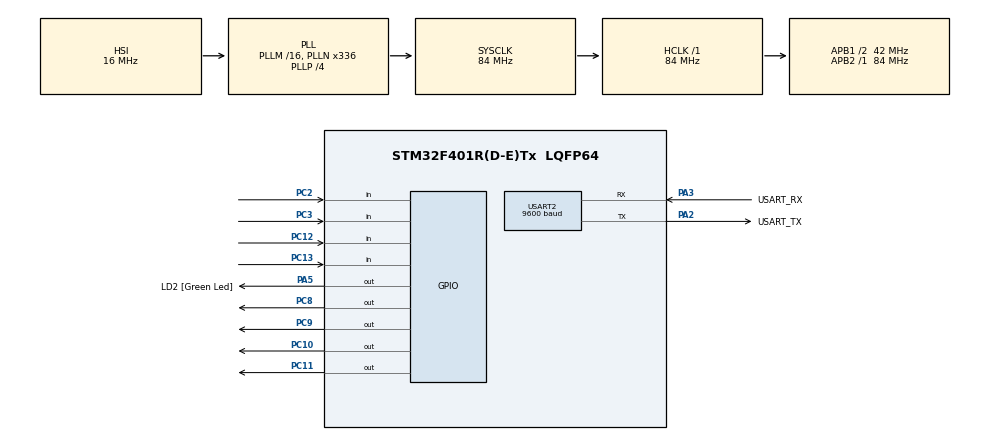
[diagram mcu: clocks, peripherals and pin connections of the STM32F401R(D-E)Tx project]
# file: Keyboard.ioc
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Dma.Request0=USART2_TX
Dma.USART2_TX.0.Direction=DMA_MEMORY_TO_PERIPH
Dma.USART2_TX.0.FIFOMode=DMA_FIFOMODE_DISABLE
Dma.USART2_TX.0.Instance=DMA1_Stream6
Dma.USART2_TX.0.MemDataAlignment=DMA_MDATAALIGN_BYTE
Dma.USART2_TX.0.MemInc=DMA_MINC_ENABLE
Dma.USART2_TX.0.Mode=DMA_NORMAL
Dma.USART2_TX.0.PeriphDataAlignment=DMA_PDATAALIGN_BYTE
Dma.USART2_TX.0.PeriphInc=DMA_PINC_DISABLE
Dma.USART2_TX.0.Priority=DMA_PRIORITY_LOW
Mcu.Family=STM32F4
Mcu.Name=STM32F401R(D-E)Tx
Mcu.Package=LQFP64
NVIC.DMA1_Stream6_IRQn=true\:0\:0\:false\:false\:true\:false\:true\:true
NVIC.PriorityGroup=NVIC_PRIORITYGROUP_4
NVIC.TIM2_IRQn=true\:0\:0\:false\:false\:true\:true\:true\:true
NVIC.USART2_IRQn=true\:0\:0\:false\:false\:true\:true\:true\:true
PA13.GPIO_Label=TMS
PA13.Mode=Trace_Asynchronous_SW
PA13.Signal=SYS_JTMS-SWDIO
PA14.GPIO_Label=TCK
PA14.Mode=Trace_Asynchronous_SW
PA14.Signal=SYS_JTCK-SWCLK
PA2.GPIO_Label=USART_TX
PA2.GPIO_Mode=GPIO_MODE_AF_PP
PA2.GPIO_PuPd=GPIO_NOPULL
PA2.GPIO_Speed=GPIO_SPEED_FREQ_LOW
PA2.Mode=Asynchronous
PA2.Signal=USART2_TX
PA3.GPIO_Label=USART_RX
PA3.GPIO_Mode=GPIO_MODE_AF_PP
PA3.GPIO_PuPd=GPIO_NOPULL
PA3.GPIO_Speed=GPIO_SPEED_FREQ_LOW
PA3.Mode=Asynchronous
PA3.Signal=USART2_RX
PA5.GPIO_Label=LD2 [Green Led]
PA5.GPIO_Mode=GPIO_MODE_OUTPUT_PP
PA5.GPIO_PuPd=GPIO_NOPULL
PA5.GPIO_Speed=GPIO_SPEED_FREQ_LOW
PA5.Signal=GPIO_Output
PB3.GPIO_Label=SWO
PB3.Mode=Trace_Asynchronous_SW
PB3.Signal=SYS_JTDO-SWO
PC10.GPIO_ModeDefaultOutputPP=GPIO_MODE_OUTPUT_PP
PC10.GPIO_PuPd=GPIO_NOPULL
PC10.Signal=GPIO_Output
PC11.GPIO_ModeDefaultOutputPP=GPIO_MODE_OUTPUT_PP
PC11.GPIO_PuPd=GPIO_NOPULL
PC11.Signal=GPIO_Output
PC12.Signal=GPIO_Input
PC13-ANTI_TAMP.Signal=GPIO_Input
PC14-OSC32_IN.Mode=LSE-External-Oscillator
PC14-OSC32_IN.Signal=RCC_OSC32_IN
PC15-OSC32_OUT.Mode=LSE-External-Oscillator
PC15-OSC32_OUT.Signal=RCC_OSC32_OUT
PC2.Signal=GPIO_Input
PC3.Signal=GPIO_Input
PC8.GPIO_ModeDefaultOutputPP=GPIO_MODE_OUTPUT_PP
PC8.GPIO_PuPd=GPIO_NOPULL
PC8.Signal=GPIO_Output
PC9.GPIO_ModeDefaultOutputPP=GPIO_MODE_OUTPUT_PP
PC9.GPIO_PuPd=GPIO_NOPULL
PC9.Signal=GPIO_Output
PH0\ -\ OSC_IN.Mode=HSE-External-Clock-Source
PH0\ -\ OSC_IN.Signal=RCC_OSC_IN
PH1\ -\ OSC_OUT.Mode=HSE-External-Clock-Source
PH1\ -\ OSC_OUT.Signal=RCC_OSC_OUT
ProjectManager.HeapSize=0x200
ProjectManager.StackSize=0x400
ProjectManager.TargetToolchain=STM32CubeIDE
RCC.48MHZClocksFreq_Value=48000000
RCC.AHBFreq_Value=84000000
RCC.APB1CLKDivider=RCC_HCLK_DIV2
RCC.APB1Freq_Value=42000000
RCC.APB1TimFreq_Value=84000000
RCC.APB2Freq_Value=84000000
RCC.APB2TimFreq_Value=84000000
RCC.CortexFreq_Value=84000000
RCC.HCLKFreq_Value=84000000
RCC.HSE_VALUE=8000000
RCC.HSI_VALUE=16000000
RCC.PLLN=336
RCC.PLLP=RCC_PLLP_DIV4
RCC.PLLQ=7
RCC.SYSCLKFreq_VALUE=84000000
RCC.SYSCLKSource=RCC_SYSCLKSOURCE_PLLCLK
RCC.VCOOutputFreq_Value=336000000
TIM2.Period=99
TIM2.Prescaler=8399
USART2.BaudRate=9600
USART2.VirtualMode=VM_ASYNC
VP_TIM2_VS_ClockSourceINT.Mode=Internal
board=NUCLEO-F401RE

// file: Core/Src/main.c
/* USER CODE BEGIN Header */
/**
  ******************************************************************************
  * @file           : main.c
  * @brief          : Main program body
  ******************************************************************************
  * @attention
  *
  * Copyright (c) 2025 STMicroelectronics.
  * All rights reserved.
  *
  * This software is licensed under terms that can be found in the LICENSE file
  * in the root directory of this software component.
  * If no LICENSE file comes with this software, it is provided AS-IS.
  *
  ******************************************************************************
  */
/* USER CODE END Header */
#include "main.h"

/* USER CODE BEGIN PTD */
typedef struct {
    GPIO_PinState current;
    GPIO_PinState previous;
} State;
/* USER CODE END PTD */

TIM_HandleTypeDef htim2;

UART_HandleTypeDef huart2;
DMA_HandleTypeDef hdma_usart2_tx;

/* USER CODE BEGIN PV */
uint8_t col = 0;

int flag_columnactivated=0;
int transmission_completed=1;

char keyboard[4][4] = {{'D', 'C', 'B', 'A'},
		{'#', '9', '6', '3'},
		{'0', '8', '5', '2'},
		{'*', '7', '4', '1'}
};

char charact[64];

State keyState[4][4] = {GPIO_PIN_SET};

/* USER CODE END PV */

void SystemClock_Config(void);
static void MX_GPIO_Init(void);
static void MX_DMA_Init(void);
static void MX_USART2_UART_Init(void);
static void MX_TIM2_Init(void);

int main(void)
{

  /* MCU Configuration--------------------------------------------------------*/

  /* Reset of all peripherals, Initializes the Flash interface and the Systick. */
  HAL_Init();

  /* Configure the system clock */
  SystemClock_Config();

  /* Initialize all configured peripherals */
  MX_GPIO_Init();
  MX_DMA_Init();
  MX_USART2_UART_Init();
  MX_TIM2_Init();
  /* USER CODE BEGIN 2 */
  activateColumn(0);
  HAL_TIM_Base_Start_IT(&htim2);
  /* USER CODE END 2 */

  /* Infinite loop */
  while (1)
  {

  }
}

void SystemClock_Config(void)
{
  RCC_OscInitTypeDef RCC_OscInitStruct = {0};
  RCC_ClkInitTypeDef RCC_ClkInitStruct = {0};

  /** Configure the main internal regulator output voltage
  */
  __HAL_RCC_PWR_CLK_ENABLE();
  __HAL_PWR_VOLTAGESCALING_CONFIG(PWR_REGULATOR_VOLTAGE_SCALE2);

  /** Initializes the RCC Oscillators according to the specified parameters
  * in the RCC_OscInitTypeDef structure.
  */
  RCC_OscInitStruct.OscillatorType = RCC_OSCILLATORTYPE_HSI;
  RCC_OscInitStruct.HSIState = RCC_HSI_ON;
  RCC_OscInitStruct.HSICalibrationValue = RCC_HSICALIBRATION_DEFAULT;
  RCC_OscInitStruct.PLL.PLLState = RCC_PLL_ON;
  RCC_OscInitStruct.PLL.PLLSource = RCC_PLLSOURCE_HSI;
  RCC_OscInitStruct.PLL.PLLM = 16;
  RCC_OscInitStruct.PLL.PLLN = 336;
  RCC_OscInitStruct.PLL.PLLP = RCC_PLLP_DIV4;
  RCC_OscInitStruct.PLL.PLLQ = 7;
  if (HAL_RCC_OscConfig(&RCC_OscInitStruct) != HAL_OK)
  {
    Error_Handler();
  }

  /** Initializes the CPU, AHB and APB buses clocks
  */
  RCC_ClkInitStruct.ClockType = RCC_CLOCKTYPE_HCLK|RCC_CLOCKTYPE_SYSCLK
                              |RCC_CLOCKTYPE_PCLK1|RCC_CLOCKTYPE_PCLK2;
  RCC_ClkInitStruct.SYSCLKSource = RCC_SYSCLKSOURCE_PLLCLK;
  RCC_ClkInitStruct.AHBCLKDivider = RCC_SYSCLK_DIV1;
  RCC_ClkInitStruct.APB1CLKDivider = RCC_HCLK_DIV2;
  RCC_ClkInitStruct.APB2CLKDivider = RCC_HCLK_DIV1;

  if (HAL_RCC_ClockConfig(&RCC_ClkInitStruct, FLASH_LATENCY_2) != HAL_OK)
  {
    Error_Handler();
  }
}

static void MX_TIM2_Init(void)
{

  TIM_ClockConfigTypeDef sClockSourceConfig = {0};
  TIM_MasterConfigTypeDef sMasterConfig = {0};

  htim2.Instance = TIM2;
  htim2.Init.Prescaler = 8399;
  htim2.Init.CounterMode = TIM_COUNTERMODE_UP;
  htim2.Init.Period = 99;
  htim2.Init.ClockDivision = TIM_CLOCKDIVISION_DIV1;
  htim2.Init.AutoReloadPreload = TIM_AUTORELOAD_PRELOAD_DISABLE;
  if (HAL_TIM_Base_Init(&htim2) != HAL_OK)
  {
    Error_Handler();
  }
  sClockSourceConfig.ClockSource = TIM_CLOCKSOURCE_INTERNAL;
  if (HAL_TIM_ConfigClockSource(&htim2, &sClockSourceConfig) != HAL_OK)
  {
    Error_Handler();
  }
  sMasterConfig.MasterOutputTrigger = TIM_TRGO_RESET;
  sMasterConfig.MasterSlaveMode = TIM_MASTERSLAVEMODE_DISABLE;
  if (HAL_TIMEx_MasterConfigSynchronization(&htim2, &sMasterConfig) != HAL_OK)
  {
    Error_Handler();
  }

}

static void MX_USART2_UART_Init(void)
{

  huart2.Instance = USART2;
  huart2.Init.BaudRate = 9600;
  huart2.Init.WordLength = UART_WORDLENGTH_8B;
  huart2.Init.StopBits = UART_STOPBITS_1;
  huart2.Init.Parity = UART_PARITY_NONE;
  huart2.Init.Mode = UART_MODE_TX_RX;
  huart2.Init.HwFlowCtl = UART_HWCONTROL_NONE;
  huart2.Init.OverSampling = UART_OVERSAMPLING_16;
  if (HAL_UART_Init(&huart2) != HAL_OK)
  {
    Error_Handler();
  }

}

static void MX_DMA_Init(void)
{

  /* DMA controller clock enable */
  __HAL_RCC_DMA1_CLK_ENABLE();

  /* DMA interrupt init */
  /* DMA1_Stream6_IRQn interrupt configuration */
  HAL_NVIC_SetPriority(DMA1_Stream6_IRQn, 0, 0);
  HAL_NVIC_EnableIRQ(DMA1_Stream6_IRQn);

}

static void MX_GPIO_Init(void)
{
  GPIO_InitTypeDef GPIO_InitStruct = {0};

  /* GPIO Ports Clock Enable */
  __HAL_RCC_GPIOC_CLK_ENABLE();
  __HAL_RCC_GPIOH_CLK_ENABLE();
  __HAL_RCC_GPIOA_CLK_ENABLE();
  __HAL_RCC_GPIOB_CLK_ENABLE();

  /*Configure GPIO pin Output Level */
  HAL_GPIO_WritePin(LD2_GPIO_Port, LD2_Pin, GPIO_PIN_RESET);

  /*Configure GPIO pin Output Level */
  HAL_GPIO_WritePin(GPIOC, GPIO_PIN_8|GPIO_PIN_9|GPIO_PIN_10|GPIO_PIN_11, GPIO_PIN_RESET);

  /*Configure GPIO pins : PC13 PC2 PC3 PC12 */
  GPIO_InitStruct.Pin = GPIO_PIN_13|GPIO_PIN_2|GPIO_PIN_3|GPIO_PIN_12;
  GPIO_InitStruct.Mode = GPIO_MODE_INPUT;
  GPIO_InitStruct.Pull = GPIO_NOPULL;
  HAL_GPIO_Init(GPIOC, &GPIO_InitStruct);

  /*Configure GPIO pin : LD2_Pin */
  GPIO_InitStruct.Pin = LD2_Pin;
  GPIO_InitStruct.Mode = GPIO_MODE_OUTPUT_PP;
  GPIO_InitStruct.Pull = GPIO_NOPULL;
  GPIO_InitStruct.Speed = GPIO_SPEED_FREQ_LOW;
  HAL_GPIO_Init(LD2_GPIO_Port, &GPIO_InitStruct);

  /*Configure GPIO pins : PC8 PC9 PC10 PC11 */
  GPIO_InitStruct.Pin = GPIO_PIN_8|GPIO_PIN_9|GPIO_PIN_10|GPIO_PIN_11;
  GPIO_InitStruct.Mode = GPIO_MODE_OUTPUT_PP;
  GPIO_InitStruct.Pull = GPIO_NOPULL;
  GPIO_InitStruct.Speed = GPIO_SPEED_FREQ_LOW;
  HAL_GPIO_Init(GPIOC, &GPIO_InitStruct);

}

/* USER CODE BEGIN 4 */
void activateColumn(uint8_t col) {
GPIO_PinState activation_columnpin_matrix[4][4] = {{GPIO_PIN_SET, GPIO_PIN_RESET, GPIO_PIN_RESET, GPIO_PIN_RESET},
			{GPIO_PIN_RESET, GPIO_PIN_SET, GPIO_PIN_RESET, GPIO_PIN_RESET},
			{GPIO_PIN_RESET, GPIO_PIN_RESET, GPIO_PIN_SET, GPIO_PIN_RESET},
			{GPIO_PIN_RESET, GPIO_PIN_RESET, GPIO_PIN_RESET, GPIO_PIN_SET}
	};

	  HAL_GPIO_WritePin(GPIOC, GPIO_PIN_11, activation_columnpin_matrix[col][0]);
	  HAL_GPIO_WritePin(GPIOC, GPIO_PIN_10, activation_columnpin_matrix[col][1]);
	  HAL_GPIO_WritePin(GPIOC, GPIO_PIN_9, activation_columnpin_matrix[col][2]);
	  HAL_GPIO_WritePin(GPIOC, GPIO_PIN_8, activation_columnpin_matrix[col][3]);
	  flag_columnactivated=1;

}

void HAL_TIM_PeriodElapsedCallback(TIM_HandleTypeDef *htim) {

	    if (flag_columnactivated && transmission_completed){
	    	GPIO_PinState r[4]; // read the rows' values
			r[0] = HAL_GPIO_ReadPin(GPIOC, GPIO_PIN_3);
			r[1] = HAL_GPIO_ReadPin(GPIOC, GPIO_PIN_2);
			r[2] = HAL_GPIO_ReadPin(GPIOC, GPIO_PIN_13);
			r[3] = HAL_GPIO_ReadPin(GPIOC, GPIO_PIN_12);
			for (int i = 0; i < 4; i++) {
				if (r[i] == GPIO_PIN_RESET && keyState[col][i].current == GPIO_PIN_RESET && keyState[col][i].previous == GPIO_PIN_SET) {
					int length = snprintf(charact, sizeof(charact), "%c\n", keyboard[col][i]);
					transmission_completed=0;
					HAL_UART_Transmit_DMA(&huart2, charact, length);
				}
				keyState[col][i].previous = keyState[col][i].current;
				keyState[col][i].current = r[i];
			}
			col = (col + 1) % 4;
			activateColumn(col);
	    }
}

void HAL_UART_TxCpltCallback(UART_HandleTypeDef *huart) {
    	transmission_completed = 1;
}
/* USER CODE END 4 */

void Error_Handler(void)
{
  __disable_irq();
  while (1)
  {
  }
}
